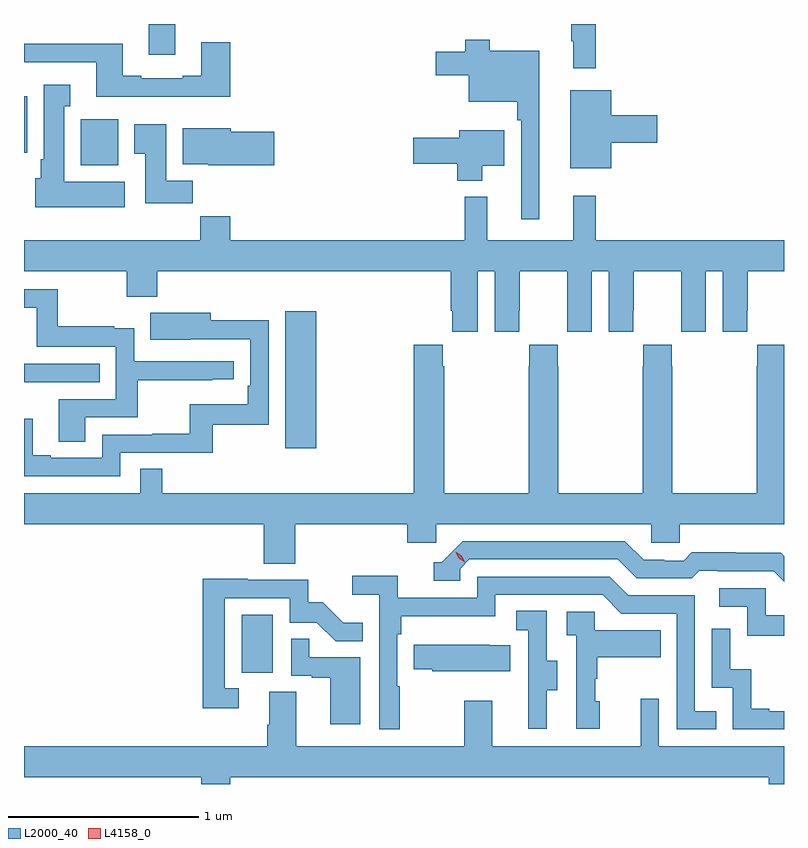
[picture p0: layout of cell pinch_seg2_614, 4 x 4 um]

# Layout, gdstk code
import gdstk
lib = gdstk.Library(unit=1e-6, precision=1e-09)
def R(c, l, rs):  # rectangles x0, y0, x1, y1
    for r in rs: c.add(gdstk.rectangle(r[:2], r[2:], *l))
def P(c, l, *ps):  # polygons
    for p in ps: c.add(gdstk.Polygon(p, *l))
L2000_40 = (2000, 40)
L4158_0 = (4158, 0)

pinch_seg2_614 = lib.new_cell('pinch_seg2_614')
R(pinch_seg2_614, L2000_40, [(1018.466,609.558,1018.63,609.865), (1018.697,610.74,1018.858,611.461), (1017.321,611.088,1017.719,611.184), (1017.62,612.23,1017.817,612.472), (1017.321,612.296,1017.337,612.592), (1017.977,612.81,1018.117,612.973)])
P(pinch_seg2_614, L2000_40, [(1020.329,612.973),(1020.201,612.973),(1020.201,612.881),(1020.212,612.881),(1020.212,612.741),(1020.329,612.741)],
  [(1020.034,612.832),(1019.773,612.832),(1019.773,612.889),(1019.644,612.889),(1019.644,612.826),(1019.487,612.826),(1019.487,612.704),(1019.663,612.704),(1019.663,612.563),(1019.917,612.563),(1019.917,612.467),(1019.937,612.467),(1019.937,611.946),(1020.034,611.946)],
  [(1018.406,612.877),(1018.253,612.877),(1018.253,612.7),(1018.157,612.7),(1018.157,612.687),(1017.937,612.687),(1017.937,612.7),(1017.841,612.7),(1017.841,612.868),(1017.321,612.868),(1017.321,612.771),(1017.701,612.771),(1017.701,612.59),(1018.406,612.59)],
  [(1017.85,612.142),(1017.532,612.142),(1017.532,612.539),(1017.565,612.539),(1017.565,612.652),(1017.425,612.652),(1017.425,612.262),(1017.41,612.262),(1017.41,612.162),(1017.38,612.162),(1017.38,612.008),(1017.85,612.008)],
  [(1020.412,612.347),(1020.655,612.347),(1020.655,612.494),(1020.412,612.494),(1020.412,612.625),(1020.197,612.625),(1020.197,612.215),(1020.412,612.215)],
  [(1018.208,612.148),(1018.069,612.148),(1018.069,612.445),(1017.902,612.445),(1017.902,612.289),(1017.959,612.289),(1017.959,612.03),(1018.208,612.03)],
  [(1018.639,612.407),(1018.408,612.407),(1018.408,612.424),(1018.157,612.424),(1018.157,612.236),(1018.29,612.236),(1018.29,612.23),(1018.639,612.23)],
  [(1019.734,612.227),(1019.848,612.227),(1019.848,612.415),(1019.612,612.415),(1019.612,612.375),(1019.37,612.375),(1019.37,612.238),(1019.6,612.238),(1019.6,612.149),(1019.734,612.149)],
  [(1019.759,612.064),(1019.641,612.064),(1019.641,611.836),(1018.406,611.836),(1018.406,611.96),(1018.249,611.96),(1018.249,611.836),(1017.321,611.836),(1017.321,611.672),(1017.862,611.672),(1017.862,611.537),(1018.022,611.537),(1018.022,611.672),(1019.567,611.672),(1019.567,611.464),(1019.576,611.464),(1019.576,611.352),(1019.71,611.352),(1019.71,611.672),(1019.798,611.672),(1019.798,611.352),(1019.928,611.352),(1019.928,611.464),(1019.929,611.464),(1019.929,611.672),(1020.179,611.672),(1020.179,611.464),(1020.18,611.464),(1020.18,611.352),(1020.31,611.352),(1020.31,611.672),(1020.398,611.672),(1020.398,611.352),(1020.528,611.352),(1020.528,611.464),(1020.529,611.464),(1020.529,611.672),(1020.779,611.672),(1020.779,611.464),(1020.78,611.464),(1020.78,611.352),(1020.91,611.352),(1020.91,611.672),(1020.998,611.672),(1020.998,611.352),(1021.128,611.352),(1021.128,611.464),(1021.129,611.464),(1021.129,611.672),(1021.321,611.672),(1021.321,611.836),(1020.329,611.836),(1020.329,612.07),(1020.212,612.07),(1020.212,611.836),(1019.759,611.836)],
  [(1017.643,610.902),(1017.92,610.902),(1017.92,611.098),(1018.313,611.098),(1018.313,611.103),(1018.426,611.103),(1018.426,611.199),(1017.9,611.199),(1017.9,611.371),(1017.797,611.371),(1017.797,611.383),(1017.499,611.383),(1017.499,611.577),(1017.321,611.577),(1017.321,611.48),(1017.388,611.48),(1017.388,611.274),(1017.804,611.274),(1017.804,610.998),(1017.503,610.998),(1017.503,610.774),(1017.643,610.774)],
  [(1017.828,610.716),(1018.315,610.716),(1018.315,610.863),(1018.608,610.863),(1018.608,611.414),(1018.303,611.414),(1018.303,611.452),(1017.985,611.452),(1017.985,611.312),(1018.199,611.312),(1018.199,611.313),(1018.512,611.313),(1018.512,611.068),(1018.499,611.068),(1018.499,610.972),(1018.194,610.972),(1018.194,610.817),(1017.997,610.817),(1017.997,610.812),(1017.732,610.812),(1017.732,610.689),(1017.463,610.689),(1017.463,610.702),(1017.367,610.702),(1017.367,610.895),(1017.321,610.895),(1017.321,610.593),(1017.828,610.593)],
  [(1018.748,610.34),(1019.339,610.34),(1019.339,610.242),(1019.49,610.242),(1019.49,610.34),(1020.621,610.34),(1020.621,610.242),(1020.771,610.242),(1020.771,610.34),(1021.321,610.34),(1021.321,611.284),(1021.179,611.284),(1021.179,611.171),(1021.177,611.171),(1021.177,610.504),(1020.732,610.504),(1020.732,611.171),(1020.729,611.171),(1020.729,611.284),(1020.579,611.284),(1020.579,611.171),(1020.577,611.171),(1020.577,610.504),(1020.132,610.504),(1020.132,611.171),(1020.129,611.171),(1020.129,611.284),(1019.979,611.284),(1019.979,611.171),(1019.977,611.171),(1019.977,610.504),(1019.532,610.504),(1019.532,611.171),(1019.525,611.171),(1019.525,611.284),(1019.372,611.284),(1019.372,610.504),(1018.049,610.504),(1018.049,610.631),(1017.933,610.631),(1017.933,610.504),(1017.321,610.504),(1017.321,610.34),(1018.583,610.34),(1018.583,610.132),(1018.748,610.132)],
  [(1021.321,610.172),(1021.304,610.189),(1021.068,610.189),(1021.068,610.192),(1020.835,610.192),(1020.793,610.149),(1020.69,610.149),(1020.69,610.152),(1020.583,610.152),(1020.484,610.251),(1019.631,610.251),(1019.52,610.14),(1019.477,610.14),(1019.477,610.044),(1019.616,610.044),(1019.616,610.107),(1019.664,610.155),(1020.447,610.155),(1020.546,610.056),(1020.835,610.056),(1020.874,610.095),(1020.973,610.095),(1020.973,610.092),(1021.266,610.092),(1021.321,610.037)],
  [(1019.299,609.488),(1019.286,609.488),(1019.286,609.761),(1019.306,609.761),(1019.306,609.857),(1019.802,609.857),(1019.802,609.969),(1020.366,609.969),(1020.465,609.87),(1020.756,609.87),(1020.756,609.261),(1020.965,609.261),(1020.965,609.357),(1020.852,609.357),(1020.852,609.966),(1020.502,609.966),(1020.403,610.065),(1019.706,610.065),(1019.706,609.954),(1019.288,609.954),(1019.288,610.07),(1019.049,610.07),(1019.049,609.968),(1019.19,609.968),(1019.19,609.261),(1019.299,609.261)],
  [(1018.45,609.477),(1018.377,609.477),(1018.377,609.951),(1018.719,609.951),(1018.719,609.822),(1018.863,609.822),(1018.961,609.724),(1019.105,609.724),(1019.105,609.823),(1019.001,609.823),(1018.894,609.93),(1018.818,609.93),(1018.818,610.047),(1018.499,610.047),(1018.499,610.052),(1018.261,610.052),(1018.261,609.372),(1018.45,609.372)],
  [(1021.321,609.861),(1021.224,609.861),(1021.224,610.002),(1020.981,610.002),(1020.981,609.906),(1021.128,609.906),(1021.128,609.753),(1021.321,609.753)],
  [(1020.073,609.466),(1020.127,609.466),(1020.127,609.621),(1020.072,609.621),(1020.072,609.884),(1019.913,609.884),(1019.913,609.781),(1019.976,609.781),(1019.976,609.477),(1019.975,609.477),(1019.975,609.264),(1020.073,609.264)],
  [(1020.352,609.408),(1020.327,609.408),(1020.327,609.527),(1020.337,609.527),(1020.337,609.641),(1020.671,609.641),(1020.671,609.781),(1020.324,609.781),(1020.324,609.879),(1020.177,609.879),(1020.177,609.755),(1020.228,609.755),(1020.228,609.264),(1020.352,609.264)],
  [(1021.321,609.357),(1021.243,609.357),(1021.243,609.37),(1021.148,609.37),(1021.148,609.578),(1021.038,609.578),(1021.038,609.79),(1020.942,609.79),(1020.942,609.48),(1021.05,609.48),(1021.05,609.261),(1021.321,609.261)],
  [(1019.092,609.639),(1018.823,609.639),(1018.823,609.737),(1018.728,609.737),(1018.728,609.543),(1018.835,609.543),(1018.835,609.531),(1018.934,609.531),(1018.934,609.288),(1019.092,609.288)],
  [(1019.879,609.703),(1019.771,609.703),(1019.771,609.706),(1019.371,609.706),(1019.371,609.577),(1019.469,609.577),(1019.469,609.566),(1019.879,609.566)],
  [(1018.406,609.008),(1021.241,609.008),(1021.241,608.973),(1021.321,608.973),(1021.321,609.172),(1020.663,609.172),(1020.663,609.421),(1020.566,609.421),(1020.566,609.172),(1019.785,609.172),(1019.785,609.412),(1019.638,609.412),(1019.638,609.172),(1018.753,609.172),(1018.753,609.458),(1018.613,609.458),(1018.613,609.284),(1018.601,609.284),(1018.601,609.172),(1017.321,609.172),(1017.321,609.008),(1018.253,609.008),(1018.253,608.973),(1018.406,608.973)])
P(pinch_seg2_614, L4158_0, [(1019.64,610.141),(1019.609,610.161),(1019.594,610.194),(1019.594,610.194),(1019.595,610.194),(1019.625,610.174),(1019.64,610.141),(1019.64,610.141)])

lib.write_gds('pinch_seg2_614.gds')
